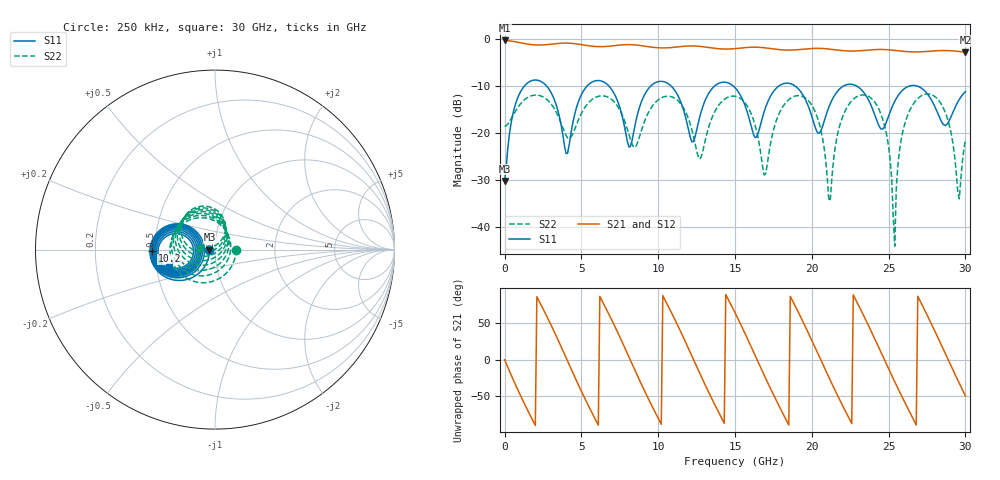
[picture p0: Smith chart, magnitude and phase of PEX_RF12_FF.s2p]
! Port 1 = P1 P2
! Port 2 = P2 P2
# hz S ri R 50
! freq  reS11  imS11  reS21  imS21  reS12  imS12  reS22  imS22
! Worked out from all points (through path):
!   301 points, 250 kHz to 30 GHz, reference 50 ohm
!   highest |S21| = -0.40 dB at 250 kHz (marker M1); lowest = -2.9 dB at 30 GHz (marker M2)
!   lowest |S11| = -30.2 dB at 250 kHz (marker M3), VSWR 1.06, Z = 47 - j0.00781 ohm
!   |S11| at or under -10 dB: 18.88 GHz to 22.11 GHz (3.231 GHz wide, 15.8 % of centre); 22.87 GHz to 26.45 GHz (3.583 GHz wide, 14.5 % of centre); 26.75 GHz to end of sweep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
!   |S22| runs from -44.1 to -11.8 dB; largest |S21 - S12| = 0
!   S11 on the Smith chart (normalised r, x): 250 kHz: 0.94, -0.00; 10.2 GHz: 0.48, -0.01; 30 GHz: 0.58, -0.12
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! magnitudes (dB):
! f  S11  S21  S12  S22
! 250 kHz  -30.2  -0.4  -0.4  -18.6
! 1.3 GHz  -10.0  -1.1  -1.1  -13.0
! 4 GHz  -24.4  -1.0  -1.0  -20.6
! 5.1 GHz  -11.3  -1.3  -1.3  -15.3
! 6.9 GHz  -10.5  -1.6  -1.6  -12.8
! 8.1 GHz  -23.0  -1.3  -1.3  -20.4
! 10.1 GHz  -9.1  -2.0  -2.0  -12.8
! 10.2 GHz  -9.1  -2.0  -2.0  -12.6
! 12.7 GHz  -16.7  -1.7  -1.7  -25.6
! 15.1 GHz  -10.8  -2.1  -2.1  -12.3
! 16.9 GHz  -15.5  -1.9  -1.9  -29.0
! 18.2 GHz  -9.5  -2.4  -2.4  -14.0
! 20.1 GHz  -17.6  -2.1  -2.1  -14.7
! 21.2 GHz  -13.8  -2.3  -2.3  -34.5
! 22.8 GHz  -9.9  -2.6  -2.6  -12.6
! 25.1 GHz  -15.6  -2.4  -2.4  -25.7
! 25.4 GHz  -13.3  -2.5  -2.5  -44.1
! 25.7 GHz  -11.7  -2.6  -2.6  -24.0
! 26.6 GHz  -9.9  -2.8  -2.8  -13.9
! 28.6 GHz  -18.3  -2.5  -2.5  -15.0
! 29.6 GHz  -12.9  -2.7  -2.7  -34.0
! 30 GHz  -11.3  -2.9  -2.9  -21.5
